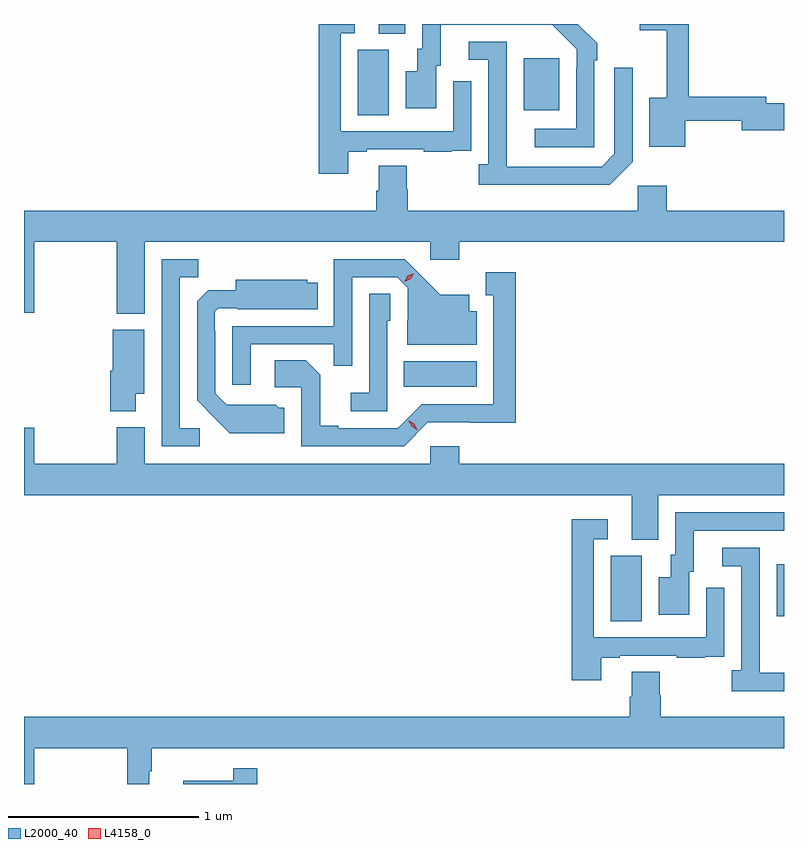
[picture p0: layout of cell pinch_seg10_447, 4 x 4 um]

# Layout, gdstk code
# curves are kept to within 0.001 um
import gdstk
lib = gdstk.Library(unit=1e-6, precision=1e-09)
def R(c, l, rs):  # rectangles x0, y0, x1, y1
    for r in rs: c.add(gdstk.rectangle(r[:2], r[2:], *l))
def P(c, l, *ps):  # polygons
    for p in ps: c.add(gdstk.Polygon(p, *l))
L2000_40 = (2000, 40)
L4158_0 = (4158, 0)

pinch_seg10_447 = lib.new_cell('pinch_seg10_447')
R(pinch_seg10_447, L2000_40, [(324.05,1311.64,324.214,1311.984), (324.923,1311.665,324.962,1311.94), (322.96,1312.874,323.344,1313.008), (322.718,1314.304,322.882,1314.648), (323.591,1314.329,323.779,1314.604), (322.829,1314.733,322.969,1314.783)])
P(pinch_seg10_447, L2000_40, [(323.964,1314.593),(323.979,1314.593),(323.979,1314.681),(323.877,1314.783),(323.058,1314.783),(323.058,1314.654),(323.033,1314.654),(323.033,1314.535),(322.97,1314.535),(322.97,1314.339),(323.131,1314.339),(323.131,1314.564),(323.155,1314.564),(323.155,1314.78),(323.743,1314.78),(323.871,1314.651),(323.871,1314.551),(323.868,1314.551),(323.868,1314.231),(323.649,1314.231),(323.649,1314.135),(323.964,1314.135)],
  [(324.442,1314.273),(324.74,1314.273),(324.74,1314.223),(324.962,1314.223),(324.962,1314.365),(324.868,1314.365),(324.868,1314.401),(324.461,1314.401),(324.461,1314.783),(324.204,1314.783),(324.204,1314.75),(324.344,1314.75),(324.344,1314.394),(324.254,1314.394),(324.254,1314.137),(324.442,1314.137)],
  [(322.669,1314.111),(322.765,1314.111),(322.765,1314.123),(323.065,1314.123),(323.065,1314.111),(323.213,1314.111),(323.213,1314.117),(323.315,1314.117),(323.315,1314.226),(323.316,1314.226),(323.316,1314.481),(323.22,1314.481),(323.22,1314.219),(322.629,1314.219),(322.629,1314.735),(322.702,1314.735),(322.702,1314.783),(322.513,1314.783),(322.513,1313.994),(322.669,1313.994)],
  [(324.165,1314.057),(324.165,1314.553),(324.069,1314.553),(324.069,1314.099),(324.003,1314.033),(323.503,1314.033),(323.502,1314.69),(323.304,1314.69),(323.304,1314.594),(323.406,1314.594),(323.406,1314.046),(323.355,1314.046),(323.355,1313.936),(324.044,1313.936)],
  [(321.598,1313.636),(323.1,1313.636),(323.1,1313.541),(323.252,1313.541),(323.252,1313.636),(324.962,1313.636),(324.962,1313.8),(324.344,1313.8),(324.344,1313.932),(324.192,1313.932),(324.192,1313.8),(322.982,1313.8),(322.982,1313.913),(322.977,1313.913),(322.977,1314.038),(322.829,1314.038),(322.829,1313.906),(322.817,1313.906),(322.817,1313.8),(320.962,1313.8),(320.962,1313.262),(321.016,1313.262),(321.016,1313.636),(321.451,1313.636),(321.451,1313.258),(321.598,1313.258)],
  [(321.886,1312.656),(321.783,1312.656),(321.783,1313.449),(321.879,1313.449),(321.879,1313.544),(321.687,1313.544),(321.687,1312.56),(321.886,1312.56)],
  [(322.155,1313.097),(322.591,1313.097),(322.591,1312.984),(322.689,1312.984),(322.689,1313.451),(322.926,1313.451),(322.983,1313.394),(322.983,1313.22),(322.979,1313.22),(322.979,1313.096),(323.344,1313.096),(323.344,1313.272),(323.305,1313.272),(323.305,1313.359),(323.153,1313.359),(322.966,1313.544),(322.593,1313.544),(322.593,1313.193),(322.059,1313.193),(322.059,1312.884),(322.155,1312.884)],
  [(323.088,1312.686),(323.551,1312.685),(323.551,1313.476),(323.393,1313.476),(323.393,1313.355),(323.432,1313.355),(323.432,1312.782),(323.055,1312.782),(322.929,1312.656),(322.615,1312.656),(322.615,1312.669),(322.521,1312.669),(322.521,1312.936),(322.445,1313.012),(322.281,1313.012),(322.281,1312.872),(322.422,1312.872),(322.422,1312.56),(322.962,1312.56)],
  [(322.333,1312.764),(322.302,1312.764),(322.286,1312.78),(322.029,1312.779),(321.969,1312.839),(321.969,1313.168),(321.966,1313.168),(321.966,1313.268),(321.984,1313.286),(322.084,1313.286),(322.084,1313.282),(322.508,1313.282),(322.508,1313.422),(322.452,1313.422),(322.452,1313.437),(322.076,1313.437),(322.076,1313.383),(321.932,1313.383),(321.873,1313.324),(321.873,1312.802),(322.045,1312.628),(322.333,1312.628)],
  [(322.875,1313.22),(322.89,1313.22),(322.89,1313.363),(322.779,1313.363),(322.779,1312.843),(322.683,1312.843),(322.683,1312.746),(322.875,1312.746)],
  [(321.55,1312.838),(321.595,1312.838),(321.595,1313.173),(321.428,1313.173),(321.428,1312.959),(321.416,1312.959),(321.416,1312.745),(321.55,1312.745)],
  [(324.301,1312.304),(324.962,1312.304),(324.962,1312.468),(323.252,1312.468),(323.252,1312.561),(323.1,1312.561),(323.1,1312.468),(321.598,1312.468),(321.598,1312.66),(321.451,1312.66),(321.451,1312.468),(321.016,1312.468),(321.016,1312.657),(320.962,1312.657),(320.962,1312.304),(324.161,1312.304),(324.161,1312.069),(324.301,1312.069)],
  [(324.463,1311.9),(324.487,1311.9),(324.487,1312.116),(324.962,1312.116),(324.962,1312.212),(324.39,1312.212),(324.39,1311.99),(324.365,1311.99),(324.365,1311.871),(324.302,1311.871),(324.302,1311.675),(324.463,1311.675)],
  [(324.001,1311.447),(324.097,1311.447),(324.097,1311.459),(324.397,1311.459),(324.397,1311.447),(324.545,1311.447),(324.545,1311.453),(324.647,1311.453),(324.647,1311.562),(324.648,1311.562),(324.648,1311.817),(324.552,1311.817),(324.552,1311.555),(323.961,1311.555),(323.961,1312.071),(324.034,1312.071),(324.034,1312.177),(323.845,1312.177),(323.845,1311.33),(324.001,1311.33)],
  [(324.962,1311.369),(324.835,1311.369),(324.835,1311.569),(324.834,1311.569),(324.834,1312.026),(324.636,1312.026),(324.636,1311.93),(324.738,1311.93),(324.738,1311.382),(324.687,1311.382),(324.687,1311.272),(324.962,1311.272)],
  [(321.016,1310.972),(321.505,1310.972),(321.505,1310.783),(321.622,1310.783),(321.622,1310.849),(321.634,1310.849),(321.634,1310.972),(324.962,1310.972),(324.962,1311.136),(324.314,1311.136),(324.314,1311.249),(324.309,1311.249),(324.309,1311.374),(324.161,1311.374),(324.161,1311.242),(324.149,1311.242),(324.149,1311.136),(320.962,1311.136),(320.962,1310.783),(321.016,1310.783)],
  [(322.19,1310.866),(322.062,1310.866),(322.062,1310.8),(321.8,1310.8),(321.8,1310.783),(322.19,1310.783)])
P(pinch_seg10_447, L4158_0, [(323.033,1312.646),(323.002,1312.665),(322.985,1312.698),(322.985,1312.698),(322.985,1312.698),(323.016,1312.679),(323.033,1312.646),(323.033,1312.646)],
  [(322.966,1313.427),(322.966,1313.428),(322.983,1313.457),(323.014,1313.472),(323.014,1313.472),(323.014,1313.472),(322.997,1313.443),(322.966,1313.427)])

lib.write_gds('pinch_seg10_447.gds')
